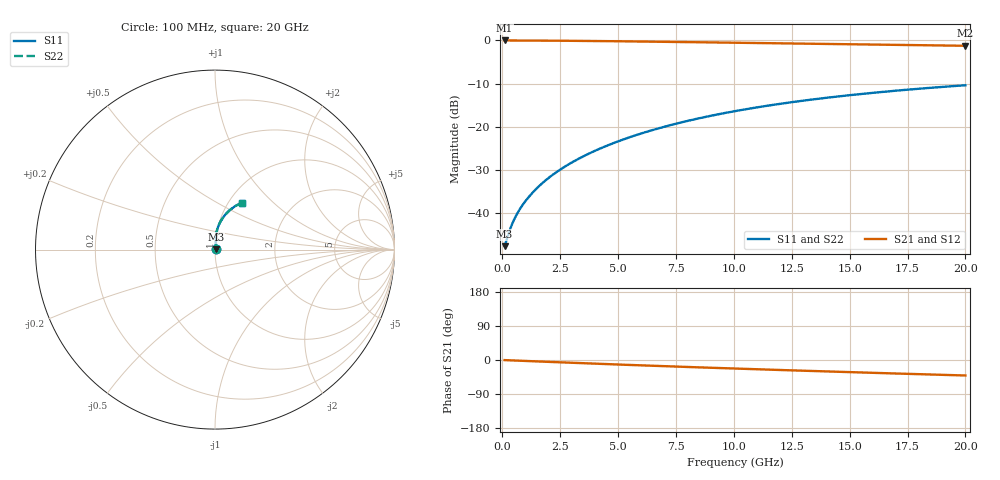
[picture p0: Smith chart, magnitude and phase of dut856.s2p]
! Touchstone file exported from HFSS 2024.1.0
!  File:  C:/UserFiles/LocalFiles/RDL_TSV_Batchsim/temp_RDL_bottom_856_1779864341.aedt
!  Generated:  02:48:12 PM May 27, 2026
!  Design:  RDL_bottom
!  Project:  temp_RDL_bottom_856_1779864341
!  Setup:  Setup1
!  Solution:  Sweep
! Variables:
!  dtsv = 10.80580581um
!  hbump = 3um
!  htsv = 68um
!  ldown = 630.8um
!  lrdl = 100um
!  p = 40
!  p1 = 42.85um
!  rhole = 1um
!  t = 450um
!  tdown = 2.49um
!  trdl = 3.915915916um
!  wdown = 25.29um
!  wrdl = 20um
# GHz S MA R 50.000000
! Terminal data exported
! Port[1] = RDL1_T1
! Port[2] = RDL1_T2
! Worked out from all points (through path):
!   200 points, 100 MHz to 20 GHz, reference 50 ohm
!   highest |S21| = -0.03 dB at 100 MHz (marker M1); lowest = -1.3 dB at 20 GHz (marker M2)
!   group delay of S21, straight-line fit = 5.62 ps
!   lowest |S11| = -47.6 dB at 100 MHz (marker M3), VSWR 1.01, Z = 50.4 + j0.156 ohm
!   |S11| at or under -10 dB: start of sweep to end of sweep
!   |S22| runs from -47.6 to -10.4 dB; largest |S21 - S12| = 5.8e-15
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0.1  0.004154 21.8  0.9961 -0.3  0.9961 -0.3  0.004154 21.8
! Gamma 0 0 0 0
! Port Impedance 50 0 50 0
0.3  0.006107 46.1  0.9957 -0.8  0.9957 -0.8  0.006107 46.1
0.4  0.007221 52.1  0.9954 -1.0  0.9954 -1.0  0.007222 52.1
0.6  0.009417 59.7  0.9948 -1.5  0.9948 -1.5  0.009418 59.7
0.7  0.0105 62.5  0.9946 -1.8  0.9946 -1.8  0.0105 62.5
0.9  0.01269 67.0  0.9941 -2.3  0.9941 -2.3  0.01269 67.0
1.2  0.01604 71.9  0.9934 -3.0  0.9934 -3.0  0.01604 71.9
1.4  0.01835 74.3  0.9929 -3.5  0.9929 -3.5  0.01835 74.3
1.7  0.02191 77.2  0.992 -4.2  0.992 -4.2  0.02191 77.2
2.2  0.02809 80.6  0.9903 -5.4  0.9903 -5.4  0.02808 80.6
2.8  0.03588 83.1  0.9877 -6.8  0.9877 -6.8  0.03588 83.1
3.5  0.04549 84.9  0.9842 -8.5  0.9842 -8.5  0.04549 84.9
4.2  0.05561 85.8  0.9802 -10.1  0.9802 -10.1  0.0556 85.8
5  0.06774 86.1  0.9751 -11.9  0.9751 -11.9  0.06774 86.1
5.9  0.082 85.8  0.9689 -13.9  0.9689 -13.9  0.08199 85.8
6.8  0.09674 85.0  0.9624 -15.9  0.9624 -15.9  0.09672 85.0
8.4  0.1236 82.7  0.9504 -19.2  0.9504 -19.2  0.1236 82.7
10.1  0.1525 79.7  0.9374 -22.7  0.9374 -22.7  0.1525 79.7
11.7  0.1793 76.5  0.9252 -25.8  0.9252 -25.8  0.1792 76.5
13.4  0.2069 73.1  0.9123 -29.0  0.9123 -29.0  0.2068 73.1
16.7  0.2571 66.4  0.8879 -35.1  0.8879 -35.1  0.257 66.4
20  0.302 60.0  0.8644 -40.9  0.8644 -40.9  0.3019 60.0
